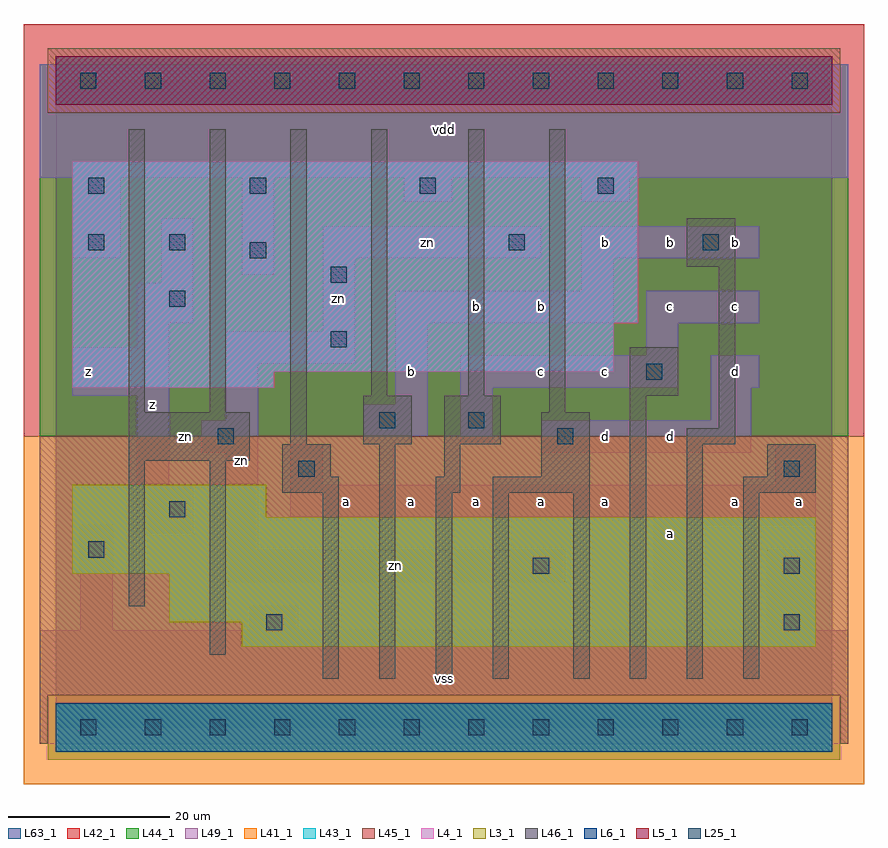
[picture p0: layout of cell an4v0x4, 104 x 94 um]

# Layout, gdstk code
import gdstk
lib = gdstk.Library(unit=1e-6, precision=1e-09)
def R(c, l, rs):  # rectangles x0, y0, x1, y1
    for r in rs: c.add(gdstk.rectangle(r[:2], r[2:], *l))
def A(c, l, x, y, w, h, nx, ny, dx, dy):  # array of equal rectangles
    R(c, l, [(x+i*dx, y+j*dy, x+i*dx+w, y+j*dy+h) for i in range(nx) for j in range(ny)])
L3_1 = (3, 1)
L4_1 = (4, 1)
L5_1 = (5, 1)
L6_1 = (6, 1)
L25_1 = (25, 1)
L41_1 = (41, 1)
L42_1 = (42, 1)
L43_1 = (43, 1)
L44_1 = (44, 1)
L45_1 = (45, 1)
L46_1 = (46, 1)
L49_1 = (49, 1)
L63_1 = (63, 1)

an4v0x4 = lib.new_cell('an4v0x4')
R(an4v0x4, L3_1, [(23,10,94,13), (14,13,94,19), (2,19,94,26), (2,26,26,30)])
R(an4v0x4, L4_1, [(2,42,27,44), (2,44,69,50), (2,50,72,70)])
R(an4v0x4, L5_1, [(0,77,96,83)])
R(an4v0x4, L6_1, [(0,-3,96,3), (0,-3,96,3)])
A(an4v0x4, L25_1, 3, -1, 2, 2, 12, 2, 8, 80)
R(an4v0x4, L25_1, [(26,12,28,14), (90,12,92,14), (59,19,61,21), (90,19,92,21), (4,21,6,23), (14,26,16,28), (30,31,32,33), (90,31,92,33), (20,35,22,37), (62,35,64,37), (40,37,42,39), (51,37,53,39), (73,43,75,45), (34,47,36,49), (14,52,16,54), (34,55,36,57), (24,58,26,60), (4,59,6,61), (14,59,16,61), (56,59,58,61), (80,59,82,61), (4,66,6,68), (24,66,26,68), (45,66,47,68), (67,66,69,68)])
R(an4v0x4, L41_1, [(-4,-7,100,36)])
R(an4v0x4, L42_1, [(-4,36,100,87)])
R(an4v0x4, L43_1, [(0,-3,96,3), (23,10,94,13), (14,13,94,19), (2,19,94,26), (2,26,26,30), (2,42,27,44), (2,44,69,50), (2,50,72,70), (0,77,96,83)])
R(an4v0x4, L44_1, [(-1,-4,97,4), (-2,36,98,76), (-2,76,-1,82), (97,76,98,82)])
R(an4v0x4, L45_1, [(-2,-2,-1,4), (97,-2,98,4), (-2,4,98,36), (-1,76,97,84)])
R(an4v0x4, L46_1, [(33,6,35,29), (40,6,42,35), (47,6,49,29), (54,6,56,29), (64,6,66,29), (71,6,73,41), (78,6,80,35), (85,6,87,29), (19,9,21,33), (9,15,11,33), (28,29,35,31), (47,29,50,31), (54,29,66,31), (85,29,94,31), (28,31,34,35), (48,31,50,35), (60,31,66,39), (88,31,94,35), (9,33,24,39), (29,35,31,74), (38,35,44,41), (48,35,55,41), (78,35,84,37), (82,37,84,57), (9,39,11,74), (19,39,21,74), (61,39,63,74), (39,41,41,74), (51,41,53,74), (71,41,77,47), (78,57,84,63)])
R(an4v0x4, L49_1, [(-2,-2,98,12), (3,12,7,25), (24,12,30,15), (88,12,94,22), (74,17,78,25), (21,18,63,22), (21,22,25,34), (10,24,17,30), (74,25,94,26), (29,26,94,30), (10,30,14,41), (29,30,33,35), (89,30,94,35), (18,34,25,38), (60,34,86,38), (50,35,54,42), (38,36,46,40), (21,38,25,45), (81,38,86,42), (42,40,46,50), (2,41,14,47), (50,42,77,46), (81,42,87,46), (21,45,37,49), (73,46,77,50), (10,47,14,50), (33,49,37,58), (10,50,17,55), (42,50,69,54), (73,50,87,54), (65,54,69,58), (13,55,17,63), (23,56,27,68), (2,58,8,68), (33,58,60,62), (65,58,87,62), (43,65,49,68), (65,65,71,68), (-2,68,98,82)])
R(an4v0x4, L63_1, [(0,0,96,80)])
an4v0x4.add(gdstk.Label('zn', (16,36), layer=46, texttype=1))
an4v0x4.add(gdstk.Label('z', (12,40), layer=49, texttype=1))
an4v0x4.add(gdstk.Label('z', (4,44), layer=49, texttype=1))
an4v0x4.add(gdstk.Label('zn', (35,53), layer=49, texttype=1))
an4v0x4.add(gdstk.Label('zn', (23,33), layer=49, texttype=1))
an4v0x4.add(gdstk.Label('vss', (48,6), layer=49, texttype=1))
an4v0x4.add(gdstk.Label('a', (36,28), layer=49, texttype=1))
an4v0x4.add(gdstk.Label('a', (44,28), layer=49, texttype=1))
an4v0x4.add(gdstk.Label('a', (52,28), layer=49, texttype=1))
an4v0x4.add(gdstk.Label('b', (44,44), layer=49, texttype=1))
an4v0x4.add(gdstk.Label('b', (52,52), layer=49, texttype=1))
an4v0x4.add(gdstk.Label('vdd', (48,74), layer=49, texttype=1))
an4v0x4.add(gdstk.Label('a', (60,28), layer=49, texttype=1))
an4v0x4.add(gdstk.Label('zn', (42,20), layer=49, texttype=1))
an4v0x4.add(gdstk.Label('a', (68,28), layer=49, texttype=1))
an4v0x4.add(gdstk.Label('a', (76,24), layer=49, texttype=1))
an4v0x4.add(gdstk.Label('c', (60,44), layer=49, texttype=1))
an4v0x4.add(gdstk.Label('d', (68,36), layer=49, texttype=1))
an4v0x4.add(gdstk.Label('c', (68,44), layer=49, texttype=1))
an4v0x4.add(gdstk.Label('d', (76,36), layer=49, texttype=1))
an4v0x4.add(gdstk.Label('c', (76,52), layer=49, texttype=1))
an4v0x4.add(gdstk.Label('b', (60,52), layer=49, texttype=1))
an4v0x4.add(gdstk.Label('zn', (46,60), layer=49, texttype=1))
an4v0x4.add(gdstk.Label('b', (68,60), layer=49, texttype=1))
an4v0x4.add(gdstk.Label('b', (76,60), layer=49, texttype=1))
an4v0x4.add(gdstk.Label('a', (84,28), layer=49, texttype=1))
an4v0x4.add(gdstk.Label('a', (92,28), layer=49, texttype=1))
an4v0x4.add(gdstk.Label('d', (84,44), layer=49, texttype=1))
an4v0x4.add(gdstk.Label('c', (84,52), layer=49, texttype=1))
an4v0x4.add(gdstk.Label('b', (84,60), layer=49, texttype=1))

lib.write_gds('an4v0x4.gds')
